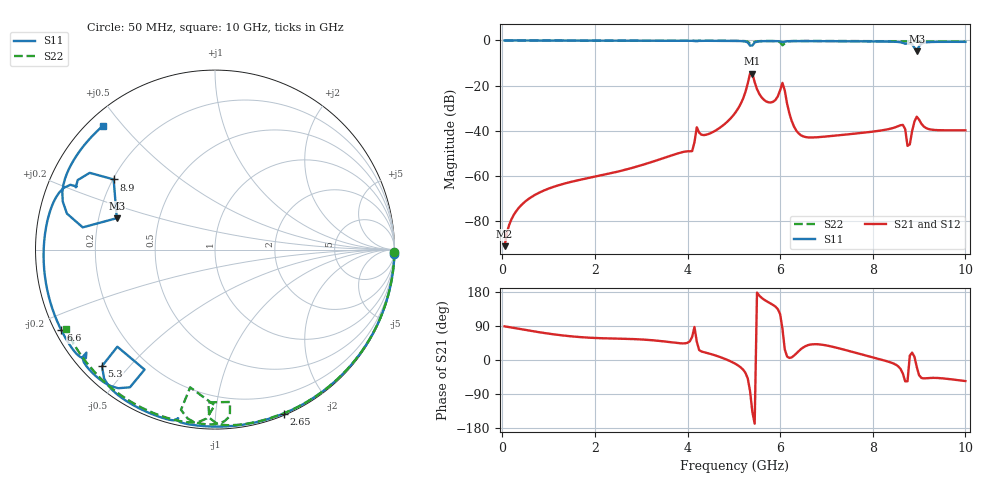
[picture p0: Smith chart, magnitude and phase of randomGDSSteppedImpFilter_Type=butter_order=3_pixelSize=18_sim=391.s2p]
! freq	dB(S11)	phase(S11)	dB(S12)	phase(S12)
!  dB(S21)	phase(S21)	dB(S22)	phase(S22)
!S-par simulation data
#  GHz  S  DB  R 50
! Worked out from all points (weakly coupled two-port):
!   200 points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, 50 MHz to 10 GHz, reference 50 ohm
!   highest |S21| = -14.70 dB at 5.4 GHz (marker M1); lowest = -91.2 dB at 50 MHz (marker M2)
!   lowest |S11| = -4.8 dB at 8.95 GHz (marker M3), VSWR 3.70, Z = 13.8 + j7.22 ohm
!   |S11| at or under -10 dB: nowhere
!   |S22| runs from -2.2 to 0.0 dB; largest |S21 - S12| = 0
!   S11 on the Smith chart (normalised r, x): 50 MHz: 0, -86; 2.65 GHz: 0.02, -1.50; 5.3 GHz: 0.06, -0.42; 6.6 GHz: 0.02, -0.25; 8.9 GHz: 0.20, +0.30; 10 GHz: 0.04, +0.44
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0.05  -0.00 -1.3  -91.20 88.8  -91.20 88.8  -0.00 -0.9
1.75  -0.06 -45.2  -61.47 59.8  -61.47 59.8  -0.04 -30.3
2.65  -0.09 -67.3  -57.35 55.9  -57.35 55.9  -0.06 -45.4
3.4  -0.11 -84.9  -52.72 50.3  -52.72 50.3  -0.08 -57.6
4.1  -0.16 -101.3  -49.04 61.2  -49.04 61.2  -0.10 -68.9
4.2  -0.34 -102.3  -38.48 48.4  -38.48 48.4  -0.11 -70.4
4.45  -0.16 -108.5  -41.50 17.5  -41.50 17.5  -0.11 -74.4
5.05  -0.22 -123.1  -31.50 -11.2  -31.50 -11.2  -0.15 -84.6
5.3  -0.87 -134.1  -19.10 -48.5  -19.10 -48.5  -0.56 -91.9
5.4  -2.21 -120.4  -14.70 -137.3  -14.70 -137.3  -1.38 -84.4
5.75  -0.28 -133.8  -27.44 152.1  -27.44 152.1  -0.23 -93.3
6.05  -0.74 -141.3  -18.81 82.0  -18.81 82.0  -2.16 -100.2
6.3  -0.28 -145.5  -38.21 11.7  -38.21 11.7  -0.25 -98.0
6.6  -0.29 -152.4  -42.98 39.2  -42.98 39.2  -0.22 -103.6
6.7  -0.30 -154.6  -43.01 41.3  -43.01 41.3  -0.22 -105.2
8.35  -0.51 166.7  -39.27 -4.9  -39.27 -4.9  -0.34 -128.8
8.65  -1.08 155.9  -37.46 -35.9  -37.46 -35.9  -0.36 -133.0
8.75  -1.41 155.9  -46.73 -56.1  -46.73 -56.1  -0.39 -134.4
8.9  -3.26 145.3  -35.90 8.5  -35.90 8.5  -0.41 -136.4
8.95  -4.81 162.2  -33.80 -18.4  -33.80 -18.4  -0.41 -137.1
9.1  -1.01 162.4  -38.11 -48.5  -38.11 -48.5  -0.42 -139.2
10  -0.63 132.1  -39.84 -55.6  -39.84 -55.6  -0.54 -151.9
